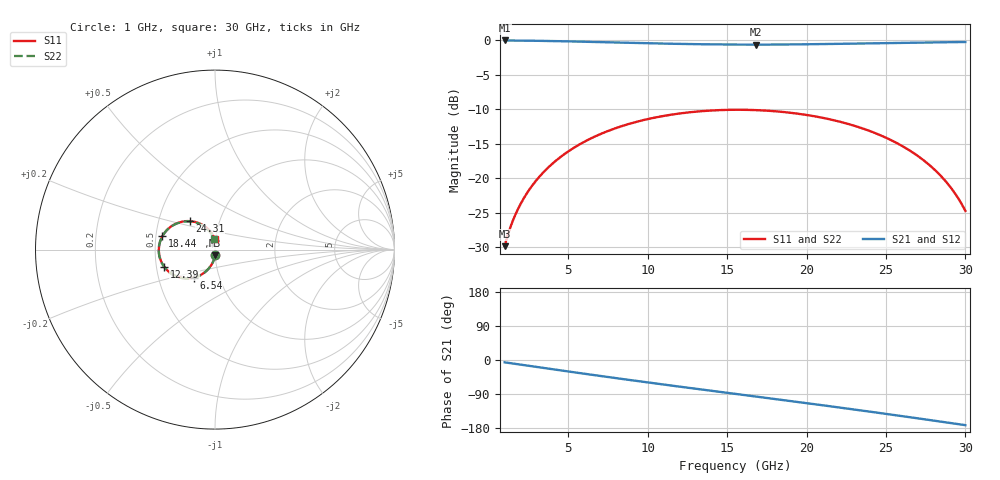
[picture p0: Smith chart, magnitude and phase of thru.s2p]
! Created Mon Nov 11 18:41:52 2024
# hz S ma R 50
! 2 Port Network Data from SP1.SP block
! freq  magS11  angS11  magS21  angS21  magS12  angS12  magS22  angS22
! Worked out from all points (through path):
!   2901 points, 1 GHz to 30 GHz, reference 50 ohm
!   highest |S21| = -0.04 dB at 1 GHz (marker M1); lowest = -0.6 dB at 16.8 GHz (marker M2)
!   group delay of S21, straight-line fit = 15.6 ps
!   lowest |S11| = -29.9 dB at 1 GHz (marker M3), VSWR 1.07, Z = 50 - j3.21 ohm
!   |S11| at or under -10 dB: start of sweep to end of sweep
!   |S22| runs from -29.9 to -10.1 dB; largest |S21 - S12| = 0
!   S11 on the Smith chart (normalised r, x): 1 GHz: 1.00, -0.06; 6.54 GHz: 0.75, -0.24; 12.39 GHz: 0.55, -0.12; 18.44 GHz: 0.54, +0.09; 24.31 GHz: 0.72, +0.24; 30 GHz: 0.99, +0.12
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1e9  0.0321 -89.0  0.9954 -6.2  0.9954 -6.2  0.03212 -88.9
1.45e9  0.04688 -93.6  0.9945 -8.9  0.9945 -8.9  0.04691 -93.5
1.81e9  0.05861 -96.6  0.9936 -11.1  0.9936 -11.1  0.05865 -96.6
2.27e9  0.07343 -100.1  0.9924 -13.9  0.9924 -13.9  0.07348 -100.1
2.81e9  0.09056 -104.0  0.9906 -17.1  0.9906 -17.1  0.09063 -103.9
4.15e9  0.1315 -112.7  0.9849 -25.2  0.9849 -25.2  0.1316 -112.6
5.84e9  0.1788 -123.1  0.9758 -35.2  0.9758 -35.2  0.179 -123.0
6.54e9  0.1967 -127.3  0.9715 -39.3  0.9715 -39.3  0.197 -127.2
8.6e9  0.2427 -139.5  0.9586 -51.2  0.9586 -51.2  0.2431 -139.2
1.067e10  0.2778 -151.3  0.9465 -62.9  0.9465 -62.9  0.2782 -151.0
1.239e10  0.2979 -160.9  0.9382 -72.4  0.9382 -72.4  0.2984 -160.7
1.55e10  0.3129 -178.2  0.9296 -89.3  0.9296 -89.3  0.3136 -177.8
1.68e10  0.3112 174.7  0.9289 -96.4  0.9289 -96.4  0.3119 175.1
1.844e10  0.3023 165.6  0.9302 -105.3  0.9302 -105.3  0.303 166.0
2.034e10  0.2829 154.9  0.9348 -115.7  0.9348 -115.7  0.2836 155.5
2.233e10  0.2523 143.4  0.9422 -126.8  0.9422 -126.8  0.253 144.1
2.431e10  0.2123 131.7  0.9509 -138.1  0.9509 -138.1  0.2128 132.6
2.517e10  0.1922 126.4  0.9547 -143.1  0.9547 -143.1  0.1927 127.4
2.67e10  0.1531 116.6  0.961 -152.1  0.961 -152.1  0.1534 118.0
2.8e10  0.1169 107.7  0.9653 -159.9  0.9653 -159.9  0.117 109.5
2.904e10  0.08654 99.7  0.9678 -166.2  0.9678 -166.2  0.08643 102.3
3e10  0.05784 90.8  0.9692 -172.0  0.9692 -172.0  0.05744 94.8
